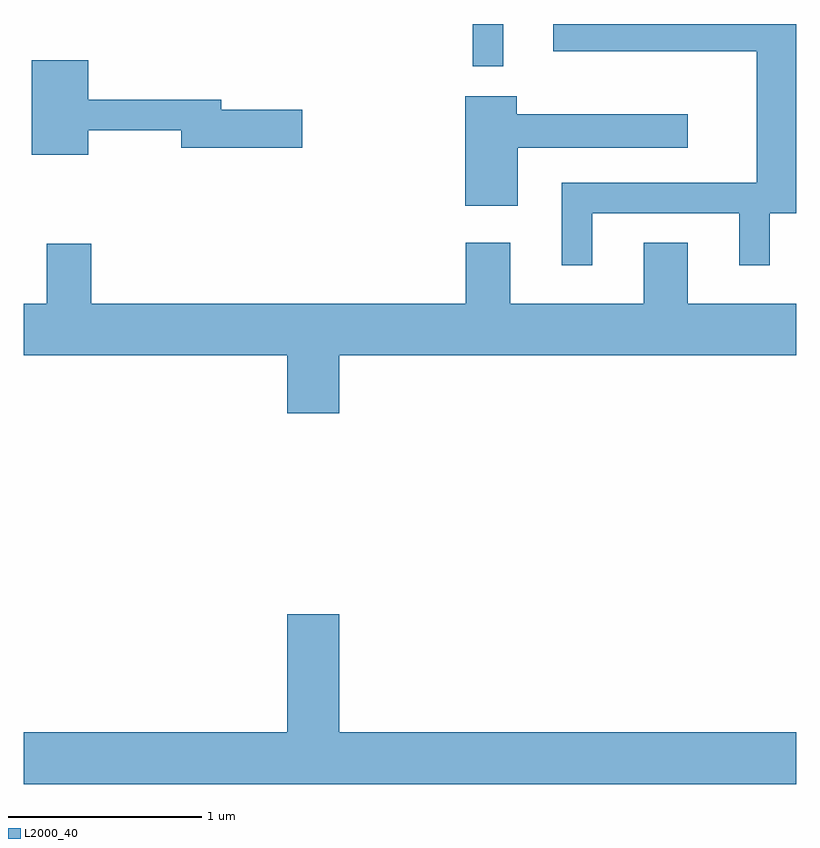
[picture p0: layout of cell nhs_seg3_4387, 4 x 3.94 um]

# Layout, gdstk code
import gdstk
lib = gdstk.Library(unit=1e-6, precision=1e-09)
def R(c, l, rs):  # rectangles x0, y0, x1, y1
    for r in rs: c.add(gdstk.rectangle(r[:2], r[2:], *l))
def P(c, l, *ps):  # polygons
    for p in ps: c.add(gdstk.Polygon(p, *l))
L2000_40 = (2000, 40)

nhs_seg3_4387 = lib.new_cell('nhs_seg3_4387')
R(nhs_seg3_4387, L2000_40, [(315.936,1189.673,316.094,1189.892)])
P(nhs_seg3_4387, L2000_40, [(316.554,1188.911),(317.316,1188.911),(317.316,1188.643),(317.474,1188.643),(317.474,1188.911),(317.611,1188.911),(317.611,1189.892),(316.353,1189.892),(316.353,1189.751),(317.406,1189.751),(317.406,1189.069),(316.396,1189.069),(316.396,1188.643),(316.554,1188.643)],
  [(313.944,1189.341),(314.426,1189.341),(314.426,1189.251),(315.054,1189.251),(315.054,1189.449),(314.634,1189.449),(314.634,1189.499),(313.944,1189.499),(313.944,1189.704),(313.651,1189.704),(313.651,1189.216),(313.944,1189.216)],
  [(316.169,1189.251),(317.049,1189.251),(317.049,1189.424),(316.164,1189.424),(316.164,1189.519),(315.896,1189.519),(315.896,1188.951),(316.169,1188.951)],
  [(315.244,1188.176),(317.611,1188.176),(317.611,1188.444),(317.049,1188.444),(317.049,1188.759),(316.821,1188.759),(316.821,1188.444),(316.129,1188.444),(316.129,1188.759),(315.901,1188.759),(315.901,1188.444),(313.959,1188.444),(313.959,1188.754),(313.731,1188.754),(313.731,1188.444),(313.611,1188.444),(313.611,1188.176),(314.976,1188.176),(314.976,1187.876),(315.244,1187.876)],
  [(317.611,1186.224),(315.244,1186.224),(315.244,1186.834),(314.976,1186.834),(314.976,1186.224),(313.611,1186.224),(313.611,1185.956),(317.611,1185.956)])

lib.write_gds('nhs_seg3_4387.gds')
